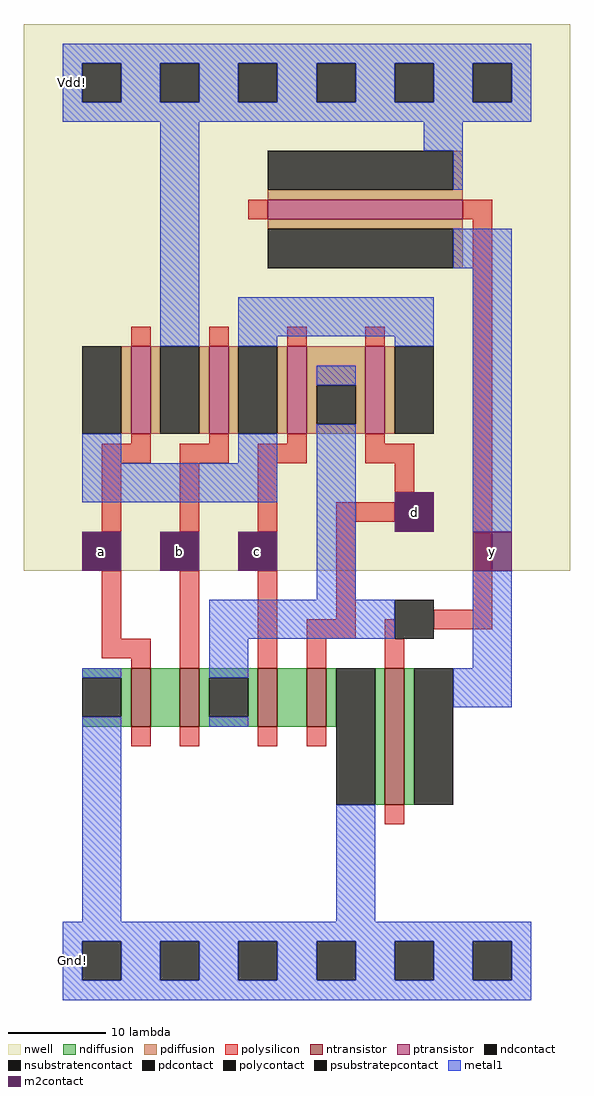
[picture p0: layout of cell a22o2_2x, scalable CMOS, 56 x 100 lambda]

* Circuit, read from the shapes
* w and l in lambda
.subckt a22o2_2x Gnd! Vdd! a b c d y
M1 n1 a Gnd! Gnd! nfet w=6 l=2
M2 n2 b n1 Gnd! nfet w=6 l=2
M3 n3 c n2 Gnd! nfet w=6 l=2
M4 Gnd! d n3 Gnd! nfet w=6 l=2
M5 y n2 Gnd! Gnd! nfet w=14 l=2
M6 Vdd! a n4 Vdd! pfet w=9 l=2
M7 n4 b Vdd! Vdd! pfet w=9 l=2
M8 Vdd! n2 y Vdd! pfet w=20 l=2
M9 n2 c n4 Vdd! pfet w=9 l=2
M10 n4 d n2 Vdd! pfet w=9 l=2
.ends

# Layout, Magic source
magic
tech scmos
<< nwell >>
rect -6 40 50 96
<< ntransistor >>
rect 5 24 7 30
rect 10 24 12 30
rect 18 24 20 30
rect 23 24 25 30
rect 31 16 33 30
<< ptransistor >>
rect 19 76 39 78
rect 5 54 7 63
rect 13 54 15 63
rect 21 54 23 63
rect 29 54 31 63
<< ndiffusion >>
rect 0 29 5 30
rect 4 25 5 29
rect 0 24 5 25
rect 7 24 10 30
rect 12 29 18 30
rect 12 25 13 29
rect 17 25 18 29
rect 12 24 18 25
rect 20 24 23 30
rect 25 24 26 30
rect 30 16 31 30
rect 33 16 34 30
<< pdiffusion >>
rect 38 79 39 83
rect 19 78 39 79
rect 19 75 39 76
rect 38 71 39 75
rect 4 54 5 63
rect 7 54 8 63
rect 12 54 13 63
rect 15 54 16 63
rect 20 54 21 63
rect 23 59 29 63
rect 23 55 24 59
rect 28 55 29 59
rect 23 54 29 55
rect 31 54 32 63
<< ndcontact >>
rect 0 25 4 29
rect 13 25 17 29
rect 26 16 30 30
rect 34 16 38 30
<< pdcontact >>
rect 19 79 38 83
rect 19 71 38 75
rect 0 54 4 63
rect 8 54 12 63
rect 16 54 20 63
rect 24 55 28 59
rect 32 54 36 63
<< psubstratepcontact >>
rect 0 -2 4 2
rect 8 -2 12 2
rect 16 -2 20 2
rect 24 -2 28 2
rect 32 -2 36 2
rect 40 -2 44 2
<< nsubstratencontact >>
rect 0 88 4 92
rect 8 88 12 92
rect 16 88 20 92
rect 24 88 28 92
rect 32 88 36 92
rect 40 88 44 92
<< polysilicon >>
rect 17 76 19 78
rect 39 76 42 78
rect 5 63 7 65
rect 13 63 15 65
rect 21 63 23 65
rect 29 63 31 65
rect 5 53 7 54
rect 13 53 15 54
rect 21 53 23 54
rect 2 51 7 53
rect 10 51 15 53
rect 18 51 23 53
rect 29 53 31 54
rect 29 51 34 53
rect 2 44 4 51
rect 10 44 12 51
rect 18 44 20 51
rect 32 48 34 51
rect 2 33 4 40
rect 2 31 7 33
rect 5 30 7 31
rect 10 30 12 40
rect 18 30 20 40
rect 26 45 32 47
rect 26 35 28 45
rect 23 33 28 35
rect 31 33 32 35
rect 40 36 42 76
rect 36 34 42 36
rect 23 30 25 33
rect 31 30 33 33
rect 5 22 7 24
rect 10 22 12 24
rect 18 22 20 24
rect 23 22 25 24
rect 31 14 33 16
<< polycontact >>
rect 0 40 4 44
rect 8 40 12 44
rect 16 40 20 44
rect 32 44 36 48
rect 32 33 36 37
<< metal1 >>
rect -2 92 46 94
rect -2 88 0 92
rect 4 88 8 92
rect 12 88 16 92
rect 20 88 24 92
rect 28 88 32 92
rect 36 88 40 92
rect 44 88 46 92
rect -2 86 46 88
rect 8 63 12 86
rect 35 83 39 86
rect 38 79 39 83
rect 38 71 44 75
rect 16 64 36 68
rect 16 63 20 64
rect 32 63 36 64
rect 0 51 4 54
rect 16 51 20 54
rect 0 47 20 51
rect 24 59 28 61
rect 24 37 28 55
rect 40 44 44 71
rect 13 33 32 37
rect 0 29 4 30
rect 0 4 4 25
rect 13 29 17 33
rect 40 30 44 40
rect 13 24 17 25
rect 38 26 44 30
rect 26 4 30 16
rect -2 2 46 4
rect -2 -2 0 2
rect 4 -2 8 2
rect 12 -2 16 2
rect 20 -2 24 2
rect 28 -2 32 2
rect 36 -2 40 2
rect 44 -2 46 2
rect -2 -4 46 -2
<< m2contact >>
rect 0 40 4 44
rect 8 40 12 44
rect 16 40 20 44
rect 32 44 36 48
rect 40 40 44 44
<< labels >>
rlabel m2contact 2 42 2 42 1 a
rlabel m2contact 10 42 10 42 1 b
rlabel m2contact 18 42 18 42 1 c
rlabel m2contact 34 46 34 46 1 d
rlabel m2contact 42 42 42 42 1 y
rlabel metal1 -1 0 -1 0 2 Gnd!
rlabel metal1 -1 90 -1 90 3 Vdd!
<< end >>
